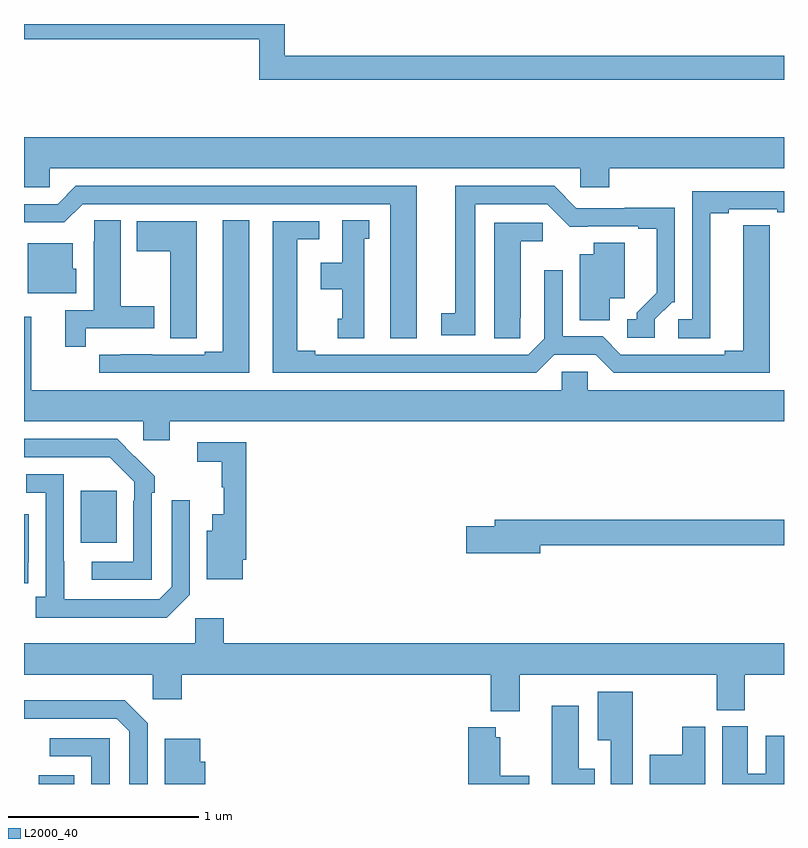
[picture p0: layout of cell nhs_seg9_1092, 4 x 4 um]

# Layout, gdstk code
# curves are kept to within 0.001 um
import gdstk
lib = gdstk.Library(unit=1e-6, precision=1e-09)
def R(c, l, rs):  # rectangles x0, y0, x1, y1
    for r in rs: c.add(gdstk.rectangle(r[:2], r[2:], *l))
def P(c, l, *ps):  # polygons
    for p in ps: c.add(gdstk.Polygon(p, *l))
L2000_40 = (2000, 40)

nhs_seg9_1092 = lib.new_cell('nhs_seg9_1092')
R(nhs_seg9_1092, L2000_40, [(171.077,1206.5,171.265,1206.547), (171.299,1207.769,171.487,1208.044)])
P(nhs_seg9_1092, L2000_40, [(175,1210.334),(172.373,1210.334),(172.373,1210.5),(171,1210.5),(171,1210.42),(172.237,1210.42),(172.237,1210.206),(175,1210.206)],
  [(171.135,1209.74),(173.928,1209.74),(173.928,1209.642),(174.08,1209.642),(174.08,1209.74),(175,1209.74),(175,1209.904),(171,1209.904),(171,1209.642),(171.135,1209.642)],
  [(173.068,1209.648),(171.273,1209.648),(171.177,1209.552),(171,1209.552),(171,1209.456),(171.213,1209.456),(171.309,1209.552),(172.928,1209.552),(172.928,1208.847),(173.068,1208.847)],
  [(174.321,1208.946),(174.411,1209.036),(174.426,1209.036),(174.426,1209.533),(174.163,1209.533),(174.163,1209.531),(173.907,1209.531),(173.79,1209.648),(173.27,1209.648),(173.27,1208.978),(173.196,1208.978),(173.196,1208.862),(173.374,1208.862),(173.374,1209.552),(173.754,1209.552),(173.872,1209.434),(174.233,1209.435),(174.233,1209.423),(174.329,1209.423),(174.329,1209.086),(174.224,1208.981),(174.224,1208.946),(174.174,1208.946),(174.174,1208.85),(174.321,1208.85)],
  [(174.613,1209.505),(174.709,1209.505),(174.709,1209.525),(174.965,1209.525),(174.965,1209.51),(175,1209.51),(175,1209.621),(174.516,1209.621),(174.516,1208.946),(174.444,1208.946),(174.444,1208.845),(174.613,1208.845)],
  [(172.186,1209.467),(172.046,1209.467),(172.046,1208.775),(171.95,1208.775),(171.95,1208.76),(171.674,1208.76),(171.674,1208.761),(171.508,1208.761),(171.508,1208.76),(171.396,1208.76),(171.396,1208.664),(172.186,1208.664)],
  [(172.792,1209.369),(172.816,1209.369),(172.816,1209.467),(172.676,1209.467),(172.676,1209.244),(172.562,1209.244),(172.562,1209.104),(172.676,1209.104),(172.676,1208.949),(172.652,1208.949),(172.652,1208.847),(172.792,1208.847)],
  [(171.326,1208.898),(171.685,1208.898),(171.685,1209.015),(171.508,1209.015),(171.508,1209.467),(171.369,1209.467),(171.369,1209.356),(171.368,1209.356),(171.368,1208.994),(171.218,1208.994),(171.218,1208.802),(171.326,1208.802)],
  [(171.909,1208.953),(171.91,1208.953),(171.91,1209.463),(171.593,1209.463),(171.593,1209.304),(171.77,1209.304),(171.77,1208.845),(171.909,1208.845)],
  [(173.791,1208.76),(174.009,1208.76),(174.105,1208.664),(174.925,1208.664),(174.924,1209.44),(174.785,1209.44),(174.785,1208.78),(174.689,1208.78),(174.689,1208.76),(174.141,1208.76),(174.045,1208.856),(173.835,1208.856),(173.835,1209.205),(173.739,1209.205),(173.739,1208.844),(173.655,1208.76),(172.534,1208.76),(172.534,1208.78),(172.438,1208.78),(172.438,1209.366),(172.555,1209.366),(172.555,1209.462),(172.31,1209.462),(172.31,1208.664),(173.695,1208.664)],
  [(173.613,1208.953),(173.614,1208.953),(173.614,1209.356),(173.731,1209.356),(173.731,1209.453),(173.474,1209.453),(173.474,1208.845),(173.613,1208.845)],
  [(174.082,1209.056),(174.163,1209.056),(174.163,1209.35),(173.999,1209.35),(173.999,1209.289),(173.924,1209.289),(173.924,1208.941),(174.082,1208.941)],
  [(171.274,1209.213),(171.256,1209.213),(171.256,1209.346),(171.02,1209.346),(171.02,1209.083),(171.274,1209.083)],
  [(171.766,1208.408),(175,1208.408),(175,1208.572),(173.967,1208.572),(173.967,1208.67),(173.829,1208.67),(173.829,1208.572),(171.038,1208.572),(171.038,1208.959),(171,1208.959),(171,1208.408),(171.627,1208.408),(171.627,1208.31),(171.766,1208.31)],
  [(171.672,1208.033),(171.687,1208.033),(171.687,1208.121),(171.49,1208.316),(171,1208.316),(171,1208.22),(171.451,1208.22),(171.579,1208.091),(171.579,1207.991),(171.576,1207.991),(171.576,1207.671),(171.357,1207.671),(171.357,1207.575),(171.672,1207.575)],
  [(172.15,1207.681),(172.169,1207.681),(172.169,1208.298),(171.912,1208.298),(171.912,1208.197),(172.041,1208.197),(172.041,1208.061),(172.052,1208.061),(172.052,1207.921),(171.992,1207.921),(171.992,1207.834),(171.962,1207.834),(171.962,1207.577),(172.15,1207.577)],
  [(171.873,1207.497),(171.873,1207.993),(171.777,1207.993),(171.777,1207.539),(171.711,1207.473),(171.211,1207.473),(171.21,1208.13),(171.012,1208.13),(171.012,1208.034),(171.114,1208.034),(171.114,1207.486),(171.063,1207.486),(171.063,1207.376),(171.752,1207.376)],
  [(171.023,1207.666),(171.024,1207.666),(171.024,1207.921),(171,1207.921),(171,1207.557),(171.023,1207.557)],
  [(173.716,1207.756),(175,1207.756),(175,1207.892),(173.477,1207.892),(173.477,1207.856),(173.328,1207.856),(173.328,1207.714),(173.716,1207.714)],
  [(173.608,1207.076),(174.646,1207.076),(174.646,1206.889),(174.793,1206.889),(174.793,1207.076),(175,1207.076),(175,1207.24),(172.052,1207.24),(172.052,1207.372),(171.9,1207.372),(171.9,1207.24),(171,1207.24),(171,1207.076),(171.678,1207.076),(171.678,1206.945),(171.83,1206.945),(171.83,1207.076),(173.456,1207.076),(173.456,1206.884),(173.608,1206.884)],
  [(174.205,1206.985),(174.02,1206.985),(174.02,1206.731),(174.089,1206.731),(174.089,1206.5),(174.205,1206.5)],
  [(171.651,1206.819),(171.53,1206.94),(171,1206.94),(171,1206.843),(171.489,1206.843),(171.555,1206.777),(171.555,1206.5),(171.651,1206.5)],
  [(174.004,1206.58),(173.92,1206.58),(173.92,1206.913),(173.777,1206.913),(173.777,1206.5),(174.004,1206.5)],
  [(175,1206.754),(174.905,1206.754),(174.905,1206.553),(174.808,1206.553),(174.808,1206.804),(174.674,1206.804),(174.674,1206.5),(175,1206.5)],
  [(174.586,1206.802),(174.464,1206.802),(174.464,1206.655),(174.293,1206.655),(174.293,1206.5),(174.586,1206.5)],
  [(173.659,1206.543),(173.506,1206.543),(173.506,1206.745),(173.484,1206.745),(173.484,1206.799),(173.339,1206.799),(173.339,1206.5),(173.659,1206.5)],
  [(171.45,1206.741),(171.135,1206.741),(171.135,1206.645),(171.354,1206.645),(171.354,1206.5),(171.45,1206.5)],
  [(171.953,1206.618),(171.928,1206.618),(171.928,1206.739),(171.74,1206.739),(171.74,1206.5),(171.953,1206.5)])

lib.write_gds('nhs_seg9_1092.gds')
